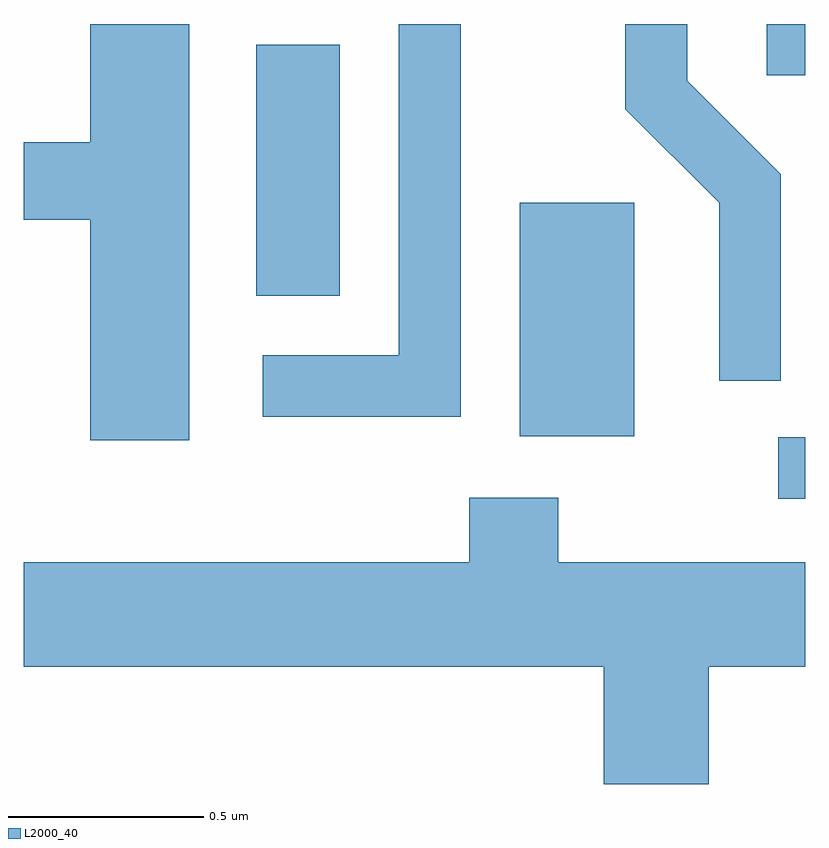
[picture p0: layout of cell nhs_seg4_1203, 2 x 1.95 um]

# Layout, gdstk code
import gdstk
lib = gdstk.Library(unit=1e-6, precision=1e-09)
def R(c, l, rs):  # rectangles x0, y0, x1, y1
    for r in rs: c.add(gdstk.rectangle(r[:2], r[2:], *l))
def P(c, l, *ps):  # polygons
    for p in ps: c.add(gdstk.Polygon(p, *l))
L2000_40 = (2000, 40)

nhs_seg4_1203 = lib.new_cell('nhs_seg4_1203')
R(nhs_seg4_1203, L2000_40, [(195.543,1361.766,195.611,1361.924), (194.881,1361.926,195.174,1362.524), (194.206,1362.286,194.419,1362.929), (195.513,1362.851,195.611,1362.982)])
P(nhs_seg4_1203, L2000_40, [(194.729,1362.982),(194.571,1362.982),(194.571,1362.134),(194.223,1362.134),(194.223,1361.976),(194.729,1361.976)],
  [(195.549,1362.597),(195.309,1362.837),(195.309,1362.982),(195.151,1362.982),(195.151,1362.764),(195.391,1362.524),(195.391,1362.068),(195.549,1362.068)],
  [(194.034,1362.982),(193.781,1362.982),(193.781,1362.679),(193.611,1362.679),(193.611,1362.481),(193.781,1362.481),(193.781,1361.916),(194.034,1361.916)],
  [(195.364,1361.336),(195.611,1361.336),(195.611,1361.604),(194.979,1361.604),(194.979,1361.769),(194.751,1361.769),(194.751,1361.604),(193.611,1361.604),(193.611,1361.336),(195.096,1361.336),(195.096,1361.036),(195.364,1361.036)])

lib.write_gds('nhs_seg4_1203.gds')
